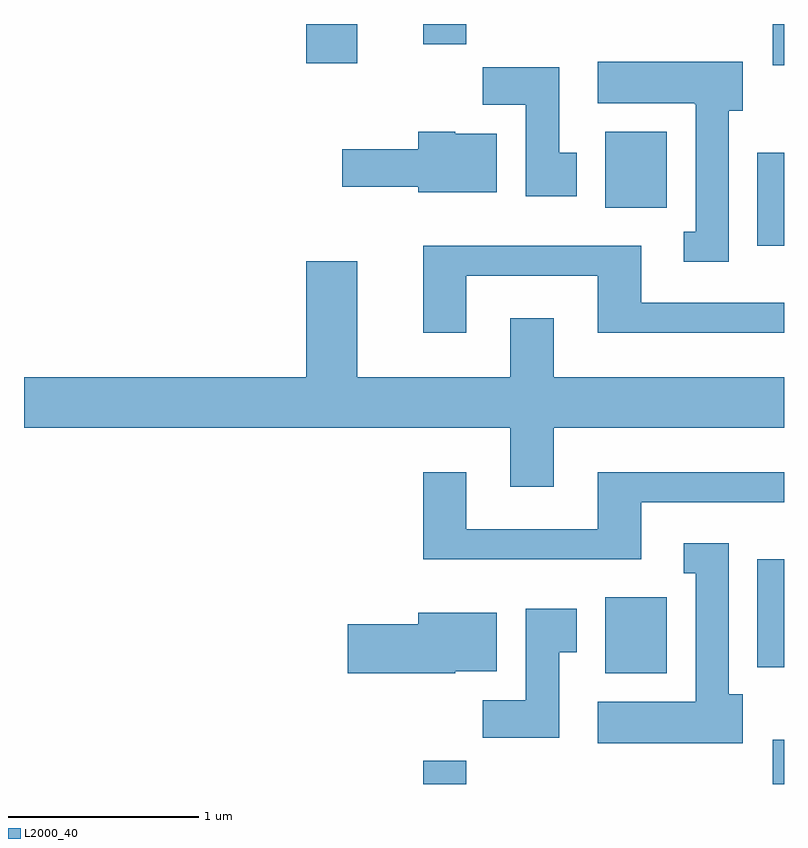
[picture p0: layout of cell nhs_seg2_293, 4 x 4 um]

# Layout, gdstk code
import gdstk
lib = gdstk.Library(unit=1e-6, precision=1e-09)
def R(c, l, rs):  # rectangles x0, y0, x1, y1
    for r in rs: c.add(gdstk.rectangle(r[:2], r[2:], *l))
def P(c, l, *ps):  # polygons
    for p in ps: c.add(gdstk.Polygon(p, *l))
L2000_40 = (2000, 40)

nhs_seg2_293 = lib.new_cell('nhs_seg2_293')
R(nhs_seg2_293, L2000_40, [(195.711,1019.802,195.939,1019.924), (197.551,1019.802,197.611,1020.034), (196.671,1020.386,196.994,1020.784), (197.471,1020.416,197.611,1020.984), (197.471,1022.636,197.611,1023.124), (196.671,1022.836,196.994,1023.234), (197.551,1023.586,197.611,1023.802), (195.096,1023.596,195.364,1023.802), (195.711,1023.696,195.939,1023.802)])
P(nhs_seg2_293, L2000_40, [(197.319,1023.346),(197.394,1023.346),(197.394,1023.604),(196.631,1023.604),(196.631,1023.386),(197.14,1023.386),(197.14,1023.38),(197.146,1023.38),(197.146,1022.709),(197.083,1022.709),(197.083,1022.551),(197.319,1022.551)],
  [(196.519,1023.124),(196.429,1023.124),(196.429,1023.574),(196.026,1023.574),(196.026,1023.376),(196.251,1023.376),(196.251,1022.896),(196.519,1022.896)],
  [(196.099,1023.224),(195.88,1023.224),(195.88,1023.234),(195.686,1023.234),(195.686,1023.144),(195.286,1023.144),(195.286,1022.946),(195.686,1022.946),(195.686,1022.916),(196.099,1022.916)],
  [(195.939,1022.476),(196.631,1022.476),(196.631,1022.176),(197.611,1022.176),(197.611,1022.334),(196.859,1022.334),(196.859,1022.634),(195.711,1022.634),(195.711,1022.176),(195.939,1022.176)],
  [(196.399,1021.676),(197.611,1021.676),(197.611,1021.944),(196.399,1021.944),(196.399,1022.254),(196.171,1022.254),(196.171,1021.944),(195.364,1021.944),(195.364,1022.554),(195.096,1022.554),(195.096,1021.944),(193.611,1021.944),(193.611,1021.676),(196.171,1021.676),(196.171,1021.366),(196.399,1021.366)],
  [(196.859,1021.286),(197.611,1021.286),(197.611,1021.444),(196.631,1021.444),(196.631,1021.144),(195.939,1021.144),(195.939,1021.444),(195.711,1021.444),(195.711,1020.986),(196.859,1020.986)],
  [(197.394,1020.274),(197.319,1020.274),(197.319,1021.069),(197.083,1021.069),(197.083,1020.911),(197.146,1020.911),(197.146,1020.234),(196.631,1020.234),(196.631,1020.016),(197.394,1020.016)],
  [(196.429,1020.496),(196.519,1020.496),(196.519,1020.724),(196.251,1020.724),(196.251,1020.244),(196.026,1020.244),(196.026,1020.046),(196.429,1020.046)],
  [(195.88,1020.396),(196.099,1020.396),(196.099,1020.704),(195.686,1020.704),(195.686,1020.644),(195.316,1020.644),(195.316,1020.386),(195.88,1020.386)])

lib.write_gds('nhs_seg2_293.gds')
